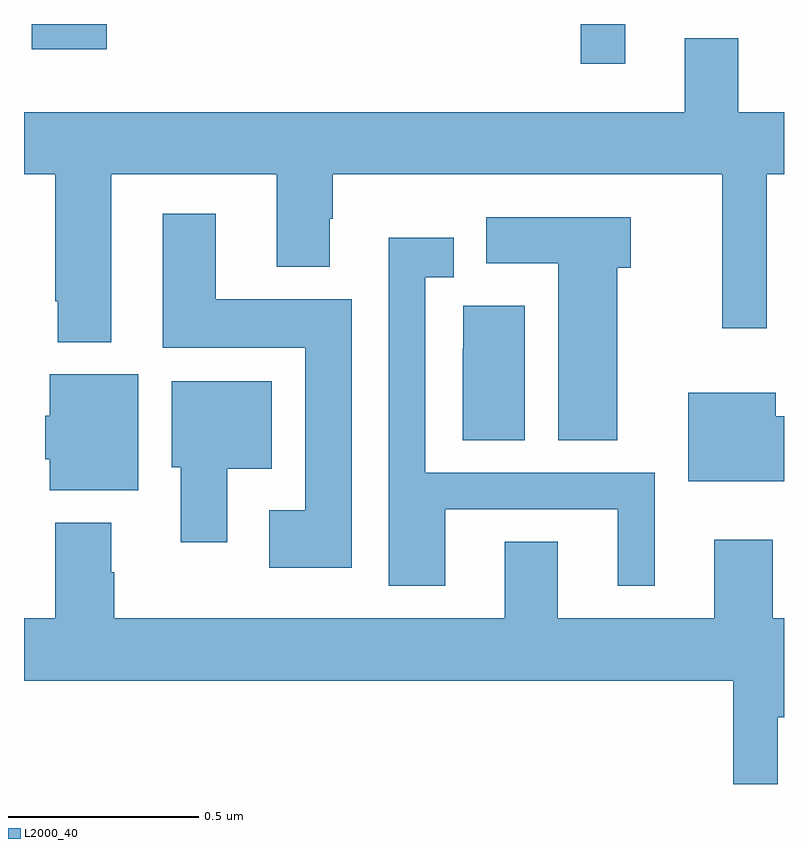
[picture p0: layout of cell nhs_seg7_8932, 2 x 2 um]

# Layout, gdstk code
import gdstk
lib = gdstk.Library(unit=1e-6, precision=1e-09)
def R(c, l, rs):  # rectangles x0, y0, x1, y1
    for r in rs: c.add(gdstk.rectangle(r[:2], r[2:], *l))
def P(c, l, *ps):  # polygons
    for p in ps: c.add(gdstk.Polygon(p, *l))
L2000_40 = (2000, 40)

nhs_seg7_8932 = lib.new_cell('nhs_seg7_8932')
R(nhs_seg7_8932, L2000_40, [(232.465,1012.896,232.582,1013), (231.021,1012.934,231.218,1013)])
P(nhs_seg7_8932, L2000_40, [(231.229,1012.604),(231.665,1012.604),(231.665,1012.361),(231.805,1012.361),(231.805,1012.488),(231.813,1012.488),(231.813,1012.604),(232.837,1012.604),(232.837,1012.2),(232.955,1012.2),(232.955,1012.604),(233,1012.604),(233,1012.768),(232.879,1012.768),(232.879,1012.963),(232.739,1012.963),(232.739,1012.768),(231,1012.768),(231,1012.604),(231.082,1012.604),(231.082,1012.27),(231.089,1012.27),(231.089,1012.163),(231.229,1012.163)],
  [(231.862,1012.276),(231.505,1012.276),(231.505,1012.501),(231.365,1012.501),(231.365,1012.148),(231.74,1012.148),(231.74,1011.721),(231.645,1011.721),(231.645,1011.569),(231.862,1011.569)],
  [(232.561,1012.358),(232.597,1012.358),(232.597,1012.492),(232.216,1012.492),(232.216,1012.37),(232.406,1012.37),(232.406,1011.904),(232.561,1011.904)],
  [(232.108,1011.723),(232.562,1011.723),(232.562,1011.522),(232.66,1011.522),(232.66,1011.819),(232.056,1011.819),(232.056,1012.334),(232.131,1012.334),(232.131,1012.438),(231.96,1012.438),(231.96,1011.522),(232.108,1011.522)],
  [(232.318,1012.258),(232.156,1012.258),(232.156,1012.145),(232.154,1012.145),(232.154,1011.904),(232.318,1011.904)],
  [(231.301,1012.078),(231.068,1012.078),(231.068,1011.969),(231.056,1011.969),(231.056,1011.855),(231.068,1011.855),(231.068,1011.773),(231.301,1011.773)],
  [(231.535,1011.83),(231.652,1011.83),(231.652,1012.06),(231.389,1012.06),(231.389,1011.834),(231.413,1011.834),(231.413,1011.636),(231.535,1011.636)],
  [(233,1011.968),(232.978,1011.968),(232.978,1012.03),(232.748,1012.03),(232.748,1011.797),(233,1011.797)],
  [(232.983,1011.176),(233,1011.176),(233,1011.436),(232.97,1011.436),(232.97,1011.643),(232.817,1011.643),(232.817,1011.436),(232.405,1011.436),(232.405,1011.638),(232.265,1011.638),(232.265,1011.436),(231.237,1011.436),(231.237,1011.557),(231.229,1011.557),(231.229,1011.688),(231.082,1011.688),(231.082,1011.436),(231,1011.436),(231,1011.272),(232.867,1011.272),(232.867,1011),(232.983,1011)])

lib.write_gds('nhs_seg7_8932.gds')
